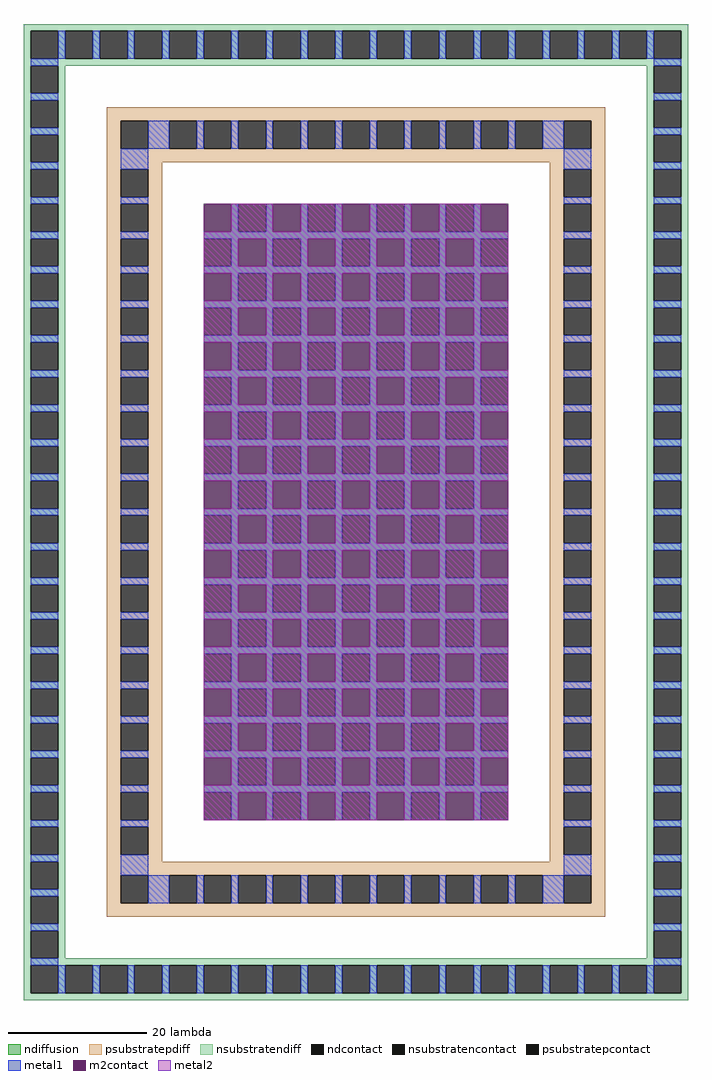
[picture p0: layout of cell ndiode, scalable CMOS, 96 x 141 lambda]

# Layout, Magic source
magic
tech scmos
<< ndiffusion >>
rect 12 98 17 102
rect 21 98 27 102
rect 31 98 37 102
rect 41 98 47 102
rect 51 98 56 102
rect 12 97 56 98
rect 16 93 22 97
rect 26 93 32 97
rect 36 93 42 97
rect 46 93 52 97
rect 12 92 56 93
rect 12 88 17 92
rect 21 88 27 92
rect 31 88 37 92
rect 41 88 47 92
rect 51 88 56 92
rect 12 87 56 88
rect 16 83 22 87
rect 26 83 32 87
rect 36 83 42 87
rect 46 83 52 87
rect 12 82 56 83
rect 12 78 17 82
rect 21 78 27 82
rect 31 78 37 82
rect 41 78 47 82
rect 51 78 56 82
rect 12 77 56 78
rect 16 73 22 77
rect 26 73 32 77
rect 36 73 42 77
rect 46 73 52 77
rect 12 72 56 73
rect 12 68 17 72
rect 21 68 27 72
rect 31 68 37 72
rect 41 68 47 72
rect 51 68 56 72
rect 12 67 56 68
rect 16 63 22 67
rect 26 63 32 67
rect 36 63 42 67
rect 46 63 52 67
rect 12 62 56 63
rect 12 58 17 62
rect 21 58 27 62
rect 31 58 37 62
rect 41 58 47 62
rect 51 58 56 62
rect 12 57 56 58
rect 16 53 22 57
rect 26 53 32 57
rect 36 53 42 57
rect 46 53 52 57
rect 12 52 56 53
rect 12 48 17 52
rect 21 48 27 52
rect 31 48 37 52
rect 41 48 47 52
rect 51 48 56 52
rect 12 47 56 48
rect 16 43 22 47
rect 26 43 32 47
rect 36 43 42 47
rect 46 43 52 47
rect 12 42 56 43
rect 12 38 17 42
rect 21 38 27 42
rect 31 38 37 42
rect 41 38 47 42
rect 51 38 56 42
rect 12 37 56 38
rect 16 33 22 37
rect 26 33 32 37
rect 36 33 42 37
rect 46 33 52 37
rect 12 32 56 33
rect 12 28 17 32
rect 21 28 27 32
rect 31 28 37 32
rect 41 28 47 32
rect 51 28 56 32
rect 12 27 56 28
rect 16 23 22 27
rect 26 23 32 27
rect 36 23 42 27
rect 46 23 52 27
rect 12 22 56 23
rect 12 18 17 22
rect 21 18 27 22
rect 31 18 37 22
rect 41 18 47 22
rect 51 18 56 22
rect 12 17 56 18
rect 16 13 22 17
rect 26 13 32 17
rect 36 13 42 17
rect 46 13 52 17
<< ndcontact >>
rect 17 98 21 102
rect 27 98 31 102
rect 37 98 41 102
rect 47 98 51 102
rect 12 93 16 97
rect 22 93 26 97
rect 32 93 36 97
rect 42 93 46 97
rect 52 93 56 97
rect 17 88 21 92
rect 27 88 31 92
rect 37 88 41 92
rect 47 88 51 92
rect 12 83 16 87
rect 22 83 26 87
rect 32 83 36 87
rect 42 83 46 87
rect 52 83 56 87
rect 17 78 21 82
rect 27 78 31 82
rect 37 78 41 82
rect 47 78 51 82
rect 12 73 16 77
rect 22 73 26 77
rect 32 73 36 77
rect 42 73 46 77
rect 52 73 56 77
rect 17 68 21 72
rect 27 68 31 72
rect 37 68 41 72
rect 47 68 51 72
rect 12 63 16 67
rect 22 63 26 67
rect 32 63 36 67
rect 42 63 46 67
rect 52 63 56 67
rect 17 58 21 62
rect 27 58 31 62
rect 37 58 41 62
rect 47 58 51 62
rect 12 53 16 57
rect 22 53 26 57
rect 32 53 36 57
rect 42 53 46 57
rect 52 53 56 57
rect 17 48 21 52
rect 27 48 31 52
rect 37 48 41 52
rect 47 48 51 52
rect 12 43 16 47
rect 22 43 26 47
rect 32 43 36 47
rect 42 43 46 47
rect 52 43 56 47
rect 17 38 21 42
rect 27 38 31 42
rect 37 38 41 42
rect 47 38 51 42
rect 12 33 16 37
rect 22 33 26 37
rect 32 33 36 37
rect 42 33 46 37
rect 52 33 56 37
rect 17 28 21 32
rect 27 28 31 32
rect 37 28 41 32
rect 47 28 51 32
rect 12 23 16 27
rect 22 23 26 27
rect 32 23 36 27
rect 42 23 46 27
rect 52 23 56 27
rect 17 18 21 22
rect 27 18 31 22
rect 37 18 41 22
rect 47 18 51 22
rect 12 13 16 17
rect 22 13 26 17
rect 32 13 36 17
rect 42 13 46 17
rect 52 13 56 17
<< psubstratepdiff >>
rect -2 114 70 116
rect -2 110 0 114
rect 4 110 7 114
rect 11 110 12 114
rect 16 110 17 114
rect 21 110 22 114
rect 26 110 27 114
rect 31 110 32 114
rect 36 110 37 114
rect 41 110 42 114
rect 46 110 47 114
rect 51 110 52 114
rect 56 110 57 114
rect 61 110 64 114
rect 68 110 70 114
rect -2 108 70 110
rect -2 107 6 108
rect -2 103 0 107
rect 4 103 6 107
rect -2 102 6 103
rect 62 107 70 108
rect 62 103 64 107
rect 68 103 70 107
rect 62 102 70 103
rect -2 98 0 102
rect 4 98 6 102
rect -2 97 6 98
rect -2 93 0 97
rect 4 93 6 97
rect -2 92 6 93
rect -2 88 0 92
rect 4 88 6 92
rect -2 87 6 88
rect -2 83 0 87
rect 4 83 6 87
rect -2 82 6 83
rect -2 78 0 82
rect 4 78 6 82
rect -2 77 6 78
rect -2 73 0 77
rect 4 73 6 77
rect -2 72 6 73
rect -2 68 0 72
rect 4 68 6 72
rect -2 67 6 68
rect -2 63 0 67
rect 4 63 6 67
rect -2 62 6 63
rect -2 58 0 62
rect 4 58 6 62
rect -2 57 6 58
rect -2 53 0 57
rect 4 53 6 57
rect -2 52 6 53
rect -2 48 0 52
rect 4 48 6 52
rect -2 47 6 48
rect -2 43 0 47
rect 4 43 6 47
rect -2 42 6 43
rect -2 38 0 42
rect 4 38 6 42
rect -2 37 6 38
rect -2 33 0 37
rect 4 33 6 37
rect -2 32 6 33
rect -2 28 0 32
rect 4 28 6 32
rect -2 27 6 28
rect -2 23 0 27
rect 4 23 6 27
rect -2 22 6 23
rect -2 18 0 22
rect 4 18 6 22
rect -2 17 6 18
rect -2 13 0 17
rect 4 13 6 17
rect 62 98 64 102
rect 68 98 70 102
rect 62 97 70 98
rect 62 93 64 97
rect 68 93 70 97
rect 62 92 70 93
rect 62 88 64 92
rect 68 88 70 92
rect 62 87 70 88
rect 62 83 64 87
rect 68 83 70 87
rect 62 82 70 83
rect 62 78 64 82
rect 68 78 70 82
rect 62 77 70 78
rect 62 73 64 77
rect 68 73 70 77
rect 62 72 70 73
rect 62 68 64 72
rect 68 68 70 72
rect 62 67 70 68
rect 62 63 64 67
rect 68 63 70 67
rect 62 62 70 63
rect 62 58 64 62
rect 68 58 70 62
rect 62 57 70 58
rect 62 53 64 57
rect 68 53 70 57
rect 62 52 70 53
rect 62 48 64 52
rect 68 48 70 52
rect 62 47 70 48
rect 62 43 64 47
rect 68 43 70 47
rect 62 42 70 43
rect 62 38 64 42
rect 68 38 70 42
rect 62 37 70 38
rect 62 33 64 37
rect 68 33 70 37
rect 62 32 70 33
rect 62 28 64 32
rect 68 28 70 32
rect 62 27 70 28
rect 62 23 64 27
rect 68 23 70 27
rect 62 22 70 23
rect 62 18 64 22
rect 68 18 70 22
rect 62 17 70 18
rect 62 13 64 17
rect 68 13 70 17
rect -2 12 6 13
rect -2 8 0 12
rect 4 8 6 12
rect -2 7 6 8
rect 62 12 70 13
rect 62 8 64 12
rect 68 8 70 12
rect 62 7 70 8
rect -2 5 70 7
rect -2 1 0 5
rect 4 1 7 5
rect 11 1 12 5
rect 16 1 17 5
rect 21 1 22 5
rect 26 1 27 5
rect 31 1 32 5
rect 36 1 37 5
rect 41 1 42 5
rect 46 1 47 5
rect 51 1 52 5
rect 56 1 57 5
rect 61 1 64 5
rect 68 1 70 5
rect -2 -1 70 1
<< nsubstratendiff >>
rect -14 127 82 128
rect -14 123 -13 127
rect -9 123 -8 127
rect -4 123 -3 127
rect 1 123 2 127
rect 6 123 7 127
rect 11 123 12 127
rect 16 123 17 127
rect 21 123 22 127
rect 26 123 27 127
rect 31 123 32 127
rect 36 123 37 127
rect 41 123 42 127
rect 46 123 47 127
rect 51 123 52 127
rect 56 123 57 127
rect 61 123 62 127
rect 66 123 67 127
rect 71 123 72 127
rect 76 123 77 127
rect 81 123 82 127
rect -14 122 82 123
rect -14 118 -13 122
rect -9 118 -8 122
rect -14 117 -8 118
rect -14 113 -13 117
rect -9 113 -8 117
rect 76 118 77 122
rect 81 118 82 122
rect 76 117 82 118
rect -14 112 -8 113
rect -14 108 -13 112
rect -9 108 -8 112
rect -14 107 -8 108
rect -14 103 -13 107
rect -9 103 -8 107
rect -14 102 -8 103
rect -14 98 -13 102
rect -9 98 -8 102
rect -14 97 -8 98
rect -14 93 -13 97
rect -9 93 -8 97
rect -14 92 -8 93
rect -14 88 -13 92
rect -9 88 -8 92
rect -14 87 -8 88
rect -14 83 -13 87
rect -9 83 -8 87
rect -14 82 -8 83
rect -14 78 -13 82
rect -9 78 -8 82
rect -14 77 -8 78
rect -14 73 -13 77
rect -9 73 -8 77
rect -14 72 -8 73
rect -14 68 -13 72
rect -9 68 -8 72
rect -14 67 -8 68
rect -14 63 -13 67
rect -9 63 -8 67
rect -14 62 -8 63
rect -14 58 -13 62
rect -9 58 -8 62
rect -14 57 -8 58
rect -14 53 -13 57
rect -9 53 -8 57
rect -14 52 -8 53
rect -14 48 -13 52
rect -9 48 -8 52
rect -14 47 -8 48
rect -14 43 -13 47
rect -9 43 -8 47
rect -14 42 -8 43
rect -14 38 -13 42
rect -9 38 -8 42
rect -14 37 -8 38
rect -14 33 -13 37
rect -9 33 -8 37
rect -14 32 -8 33
rect -14 28 -13 32
rect -9 28 -8 32
rect -14 27 -8 28
rect -14 23 -13 27
rect -9 23 -8 27
rect -14 22 -8 23
rect -14 18 -13 22
rect -9 18 -8 22
rect -14 17 -8 18
rect -14 13 -13 17
rect -9 13 -8 17
rect -14 12 -8 13
rect -14 8 -13 12
rect -9 8 -8 12
rect -14 7 -8 8
rect -14 3 -13 7
rect -9 3 -8 7
rect -14 2 -8 3
rect -14 -2 -13 2
rect -9 -2 -8 2
rect 76 113 77 117
rect 81 113 82 117
rect 76 112 82 113
rect 76 108 77 112
rect 81 108 82 112
rect 76 107 82 108
rect 76 103 77 107
rect 81 103 82 107
rect 76 102 82 103
rect 76 98 77 102
rect 81 98 82 102
rect 76 97 82 98
rect 76 93 77 97
rect 81 93 82 97
rect 76 92 82 93
rect 76 88 77 92
rect 81 88 82 92
rect 76 87 82 88
rect 76 83 77 87
rect 81 83 82 87
rect 76 82 82 83
rect 76 78 77 82
rect 81 78 82 82
rect 76 77 82 78
rect 76 73 77 77
rect 81 73 82 77
rect 76 72 82 73
rect 76 68 77 72
rect 81 68 82 72
rect 76 67 82 68
rect 76 63 77 67
rect 81 63 82 67
rect 76 62 82 63
rect 76 58 77 62
rect 81 58 82 62
rect 76 57 82 58
rect 76 53 77 57
rect 81 53 82 57
rect 76 52 82 53
rect 76 48 77 52
rect 81 48 82 52
rect 76 47 82 48
rect 76 43 77 47
rect 81 43 82 47
rect 76 42 82 43
rect 76 38 77 42
rect 81 38 82 42
rect 76 37 82 38
rect 76 33 77 37
rect 81 33 82 37
rect 76 32 82 33
rect 76 28 77 32
rect 81 28 82 32
rect 76 27 82 28
rect 76 23 77 27
rect 81 23 82 27
rect 76 22 82 23
rect 76 18 77 22
rect 81 18 82 22
rect 76 17 82 18
rect 76 13 77 17
rect 81 13 82 17
rect 76 12 82 13
rect 76 8 77 12
rect 81 8 82 12
rect 76 7 82 8
rect 76 3 77 7
rect 81 3 82 7
rect 76 2 82 3
rect -14 -3 -8 -2
rect -14 -7 -13 -3
rect -9 -7 -8 -3
rect 76 -2 77 2
rect 81 -2 82 2
rect 76 -3 82 -2
rect 76 -7 77 -3
rect 81 -7 82 -3
rect -14 -8 82 -7
rect -14 -12 -13 -8
rect -9 -12 -8 -8
rect -4 -12 -3 -8
rect 1 -12 2 -8
rect 6 -12 7 -8
rect 11 -12 12 -8
rect 16 -12 17 -8
rect 21 -12 22 -8
rect 26 -12 27 -8
rect 31 -12 32 -8
rect 36 -12 37 -8
rect 41 -12 42 -8
rect 46 -12 47 -8
rect 51 -12 52 -8
rect 56 -12 57 -8
rect 61 -12 62 -8
rect 66 -12 67 -8
rect 71 -12 72 -8
rect 76 -12 77 -8
rect 81 -12 82 -8
rect -14 -13 82 -12
<< psubstratepcontact >>
rect 0 110 4 114
rect 7 110 11 114
rect 12 110 16 114
rect 17 110 21 114
rect 22 110 26 114
rect 27 110 31 114
rect 32 110 36 114
rect 37 110 41 114
rect 42 110 46 114
rect 47 110 51 114
rect 52 110 56 114
rect 57 110 61 114
rect 64 110 68 114
rect 0 103 4 107
rect 64 103 68 107
rect 0 98 4 102
rect 0 93 4 97
rect 0 88 4 92
rect 0 83 4 87
rect 0 78 4 82
rect 0 73 4 77
rect 0 68 4 72
rect 0 63 4 67
rect 0 58 4 62
rect 0 53 4 57
rect 0 48 4 52
rect 0 43 4 47
rect 0 38 4 42
rect 0 33 4 37
rect 0 28 4 32
rect 0 23 4 27
rect 0 18 4 22
rect 0 13 4 17
rect 64 98 68 102
rect 64 93 68 97
rect 64 88 68 92
rect 64 83 68 87
rect 64 78 68 82
rect 64 73 68 77
rect 64 68 68 72
rect 64 63 68 67
rect 64 58 68 62
rect 64 53 68 57
rect 64 48 68 52
rect 64 43 68 47
rect 64 38 68 42
rect 64 33 68 37
rect 64 28 68 32
rect 64 23 68 27
rect 64 18 68 22
rect 64 13 68 17
rect 0 8 4 12
rect 64 8 68 12
rect 0 1 4 5
rect 7 1 11 5
rect 12 1 16 5
rect 17 1 21 5
rect 22 1 26 5
rect 27 1 31 5
rect 32 1 36 5
rect 37 1 41 5
rect 42 1 46 5
rect 47 1 51 5
rect 52 1 56 5
rect 57 1 61 5
rect 64 1 68 5
<< nsubstratencontact >>
rect -13 123 -9 127
rect -8 123 -4 127
rect -3 123 1 127
rect 2 123 6 127
rect 7 123 11 127
rect 12 123 16 127
rect 17 123 21 127
rect 22 123 26 127
rect 27 123 31 127
rect 32 123 36 127
rect 37 123 41 127
rect 42 123 46 127
rect 47 123 51 127
rect 52 123 56 127
rect 57 123 61 127
rect 62 123 66 127
rect 67 123 71 127
rect 72 123 76 127
rect 77 123 81 127
rect -13 118 -9 122
rect -13 113 -9 117
rect 77 118 81 122
rect -13 108 -9 112
rect -13 103 -9 107
rect -13 98 -9 102
rect -13 93 -9 97
rect -13 88 -9 92
rect -13 83 -9 87
rect -13 78 -9 82
rect -13 73 -9 77
rect -13 68 -9 72
rect -13 63 -9 67
rect -13 58 -9 62
rect -13 53 -9 57
rect -13 48 -9 52
rect -13 43 -9 47
rect -13 38 -9 42
rect -13 33 -9 37
rect -13 28 -9 32
rect -13 23 -9 27
rect -13 18 -9 22
rect -13 13 -9 17
rect -13 8 -9 12
rect -13 3 -9 7
rect -13 -2 -9 2
rect 77 113 81 117
rect 77 108 81 112
rect 77 103 81 107
rect 77 98 81 102
rect 77 93 81 97
rect 77 88 81 92
rect 77 83 81 87
rect 77 78 81 82
rect 77 73 81 77
rect 77 68 81 72
rect 77 63 81 67
rect 77 58 81 62
rect 77 53 81 57
rect 77 48 81 52
rect 77 43 81 47
rect 77 38 81 42
rect 77 33 81 37
rect 77 28 81 32
rect 77 23 81 27
rect 77 18 81 22
rect 77 13 81 17
rect 77 8 81 12
rect 77 3 81 7
rect -13 -7 -9 -3
rect 77 -2 81 2
rect 77 -7 81 -3
rect -13 -12 -9 -8
rect -8 -12 -4 -8
rect -3 -12 1 -8
rect 2 -12 6 -8
rect 7 -12 11 -8
rect 12 -12 16 -8
rect 17 -12 21 -8
rect 22 -12 26 -8
rect 27 -12 31 -8
rect 32 -12 36 -8
rect 37 -12 41 -8
rect 42 -12 46 -8
rect 47 -12 51 -8
rect 52 -12 56 -8
rect 57 -12 61 -8
rect 62 -12 66 -8
rect 67 -12 71 -8
rect 72 -12 76 -8
rect 77 -12 81 -8
<< metal1 >>
rect -9 123 -8 127
rect -4 123 -3 127
rect 1 123 2 127
rect 6 123 7 127
rect 11 123 12 127
rect 16 123 17 127
rect 21 123 22 127
rect 26 123 27 127
rect 31 123 32 127
rect 36 123 37 127
rect 41 123 42 127
rect 46 123 47 127
rect 51 123 52 127
rect 56 123 57 127
rect 61 123 62 127
rect 66 123 67 127
rect 71 123 72 127
rect 76 123 77 127
rect -13 122 -9 123
rect -13 117 -9 118
rect 77 122 81 123
rect 77 117 81 118
rect -13 112 -9 113
rect -13 107 -9 108
rect -13 102 -9 103
rect -13 97 -9 98
rect -13 92 -9 93
rect -13 87 -9 88
rect -13 82 -9 83
rect -13 77 -9 78
rect -13 72 -9 73
rect -13 67 -9 68
rect -13 62 -9 63
rect -13 57 -9 58
rect -13 52 -9 53
rect -13 47 -9 48
rect -13 42 -9 43
rect -13 37 -9 38
rect -13 32 -9 33
rect -13 27 -9 28
rect -13 22 -9 23
rect -13 17 -9 18
rect -13 12 -9 13
rect -13 7 -9 8
rect -13 2 -9 3
rect 4 110 7 114
rect 11 110 12 114
rect 16 110 17 114
rect 21 110 22 114
rect 26 110 27 114
rect 31 110 32 114
rect 36 110 37 114
rect 41 110 42 114
rect 46 110 47 114
rect 51 110 52 114
rect 56 110 57 114
rect 61 110 64 114
rect 0 107 4 110
rect 0 102 4 103
rect 64 107 68 110
rect 64 102 68 103
rect 0 97 4 98
rect 0 92 4 93
rect 0 87 4 88
rect 0 82 4 83
rect 0 77 4 78
rect 0 72 4 73
rect 0 67 4 68
rect 0 62 4 63
rect 0 57 4 58
rect 0 52 4 53
rect 0 47 4 48
rect 0 42 4 43
rect 0 37 4 38
rect 0 32 4 33
rect 0 27 4 28
rect 0 22 4 23
rect 0 17 4 18
rect 16 98 17 102
rect 21 98 22 102
rect 26 98 27 102
rect 31 98 32 102
rect 36 98 37 102
rect 41 98 42 102
rect 46 98 47 102
rect 51 98 52 102
rect 12 97 56 98
rect 16 93 17 97
rect 21 93 22 97
rect 26 93 27 97
rect 31 93 32 97
rect 36 93 37 97
rect 41 93 42 97
rect 46 93 47 97
rect 51 93 52 97
rect 12 92 56 93
rect 16 88 17 92
rect 21 88 22 92
rect 26 88 27 92
rect 31 88 32 92
rect 36 88 37 92
rect 41 88 42 92
rect 46 88 47 92
rect 51 88 52 92
rect 12 87 56 88
rect 16 83 17 87
rect 21 83 22 87
rect 26 83 27 87
rect 31 83 32 87
rect 36 83 37 87
rect 41 83 42 87
rect 46 83 47 87
rect 51 83 52 87
rect 12 82 56 83
rect 16 78 17 82
rect 21 78 22 82
rect 26 78 27 82
rect 31 78 32 82
rect 36 78 37 82
rect 41 78 42 82
rect 46 78 47 82
rect 51 78 52 82
rect 12 77 56 78
rect 16 73 17 77
rect 21 73 22 77
rect 26 73 27 77
rect 31 73 32 77
rect 36 73 37 77
rect 41 73 42 77
rect 46 73 47 77
rect 51 73 52 77
rect 12 72 56 73
rect 16 68 17 72
rect 21 68 22 72
rect 26 68 27 72
rect 31 68 32 72
rect 36 68 37 72
rect 41 68 42 72
rect 46 68 47 72
rect 51 68 52 72
rect 12 67 56 68
rect 16 63 17 67
rect 21 63 22 67
rect 26 63 27 67
rect 31 63 32 67
rect 36 63 37 67
rect 41 63 42 67
rect 46 63 47 67
rect 51 63 52 67
rect 12 62 56 63
rect 16 58 17 62
rect 21 58 22 62
rect 26 58 27 62
rect 31 58 32 62
rect 36 58 37 62
rect 41 58 42 62
rect 46 58 47 62
rect 51 58 52 62
rect 12 57 56 58
rect 16 53 17 57
rect 21 53 22 57
rect 26 53 27 57
rect 31 53 32 57
rect 36 53 37 57
rect 41 53 42 57
rect 46 53 47 57
rect 51 53 52 57
rect 12 52 56 53
rect 16 48 17 52
rect 21 48 22 52
rect 26 48 27 52
rect 31 48 32 52
rect 36 48 37 52
rect 41 48 42 52
rect 46 48 47 52
rect 51 48 52 52
rect 12 47 56 48
rect 16 43 17 47
rect 21 43 22 47
rect 26 43 27 47
rect 31 43 32 47
rect 36 43 37 47
rect 41 43 42 47
rect 46 43 47 47
rect 51 43 52 47
rect 12 42 56 43
rect 16 38 17 42
rect 21 38 22 42
rect 26 38 27 42
rect 31 38 32 42
rect 36 38 37 42
rect 41 38 42 42
rect 46 38 47 42
rect 51 38 52 42
rect 12 37 56 38
rect 16 33 17 37
rect 21 33 22 37
rect 26 33 27 37
rect 31 33 32 37
rect 36 33 37 37
rect 41 33 42 37
rect 46 33 47 37
rect 51 33 52 37
rect 12 32 56 33
rect 16 28 17 32
rect 21 28 22 32
rect 26 28 27 32
rect 31 28 32 32
rect 36 28 37 32
rect 41 28 42 32
rect 46 28 47 32
rect 51 28 52 32
rect 12 27 56 28
rect 16 23 17 27
rect 21 23 22 27
rect 26 23 27 27
rect 31 23 32 27
rect 36 23 37 27
rect 41 23 42 27
rect 46 23 47 27
rect 51 23 52 27
rect 12 22 56 23
rect 16 18 17 22
rect 21 18 22 22
rect 26 18 27 22
rect 31 18 32 22
rect 36 18 37 22
rect 41 18 42 22
rect 46 18 47 22
rect 51 18 52 22
rect 12 17 56 18
rect 16 13 17 17
rect 21 13 22 17
rect 26 13 27 17
rect 31 13 32 17
rect 36 13 37 17
rect 41 13 42 17
rect 46 13 47 17
rect 51 13 52 17
rect 64 97 68 98
rect 64 92 68 93
rect 64 87 68 88
rect 64 82 68 83
rect 64 77 68 78
rect 64 72 68 73
rect 64 67 68 68
rect 64 62 68 63
rect 64 57 68 58
rect 64 52 68 53
rect 64 47 68 48
rect 64 42 68 43
rect 64 37 68 38
rect 64 32 68 33
rect 64 27 68 28
rect 64 22 68 23
rect 64 17 68 18
rect 0 12 4 13
rect 0 5 4 8
rect 64 12 68 13
rect 64 5 68 8
rect 4 1 7 5
rect 11 1 12 5
rect 16 1 17 5
rect 21 1 22 5
rect 26 1 27 5
rect 31 1 32 5
rect 36 1 37 5
rect 41 1 42 5
rect 46 1 47 5
rect 51 1 52 5
rect 56 1 57 5
rect 61 1 64 5
rect 77 112 81 113
rect 77 107 81 108
rect 77 102 81 103
rect 77 97 81 98
rect 77 92 81 93
rect 77 87 81 88
rect 77 82 81 83
rect 77 77 81 78
rect 77 72 81 73
rect 77 67 81 68
rect 77 62 81 63
rect 77 57 81 58
rect 77 52 81 53
rect 77 47 81 48
rect 77 42 81 43
rect 77 37 81 38
rect 77 32 81 33
rect 77 27 81 28
rect 77 22 81 23
rect 77 17 81 18
rect 77 12 81 13
rect 77 7 81 8
rect 77 2 81 3
rect -13 -3 -9 -2
rect -13 -8 -9 -7
rect 77 -3 81 -2
rect 77 -8 81 -7
rect -9 -12 -8 -8
rect -4 -12 -3 -8
rect 1 -12 2 -8
rect 6 -12 7 -8
rect 11 -12 12 -8
rect 16 -12 17 -8
rect 21 -12 22 -8
rect 26 -12 27 -8
rect 31 -12 32 -8
rect 36 -12 37 -8
rect 41 -12 42 -8
rect 46 -12 47 -8
rect 51 -12 52 -8
rect 56 -12 57 -8
rect 61 -12 62 -8
rect 66 -12 67 -8
rect 71 -12 72 -8
rect 76 -12 77 -8
<< m2contact >>
rect 12 98 16 102
rect 22 98 26 102
rect 32 98 36 102
rect 42 98 46 102
rect 52 98 56 102
rect 17 93 21 97
rect 27 93 31 97
rect 37 93 41 97
rect 47 93 51 97
rect 12 88 16 92
rect 22 88 26 92
rect 32 88 36 92
rect 42 88 46 92
rect 52 88 56 92
rect 17 83 21 87
rect 27 83 31 87
rect 37 83 41 87
rect 47 83 51 87
rect 12 78 16 82
rect 22 78 26 82
rect 32 78 36 82
rect 42 78 46 82
rect 52 78 56 82
rect 17 73 21 77
rect 27 73 31 77
rect 37 73 41 77
rect 47 73 51 77
rect 12 68 16 72
rect 22 68 26 72
rect 32 68 36 72
rect 42 68 46 72
rect 52 68 56 72
rect 17 63 21 67
rect 27 63 31 67
rect 37 63 41 67
rect 47 63 51 67
rect 12 58 16 62
rect 22 58 26 62
rect 32 58 36 62
rect 42 58 46 62
rect 52 58 56 62
rect 17 53 21 57
rect 27 53 31 57
rect 37 53 41 57
rect 47 53 51 57
rect 12 48 16 52
rect 22 48 26 52
rect 32 48 36 52
rect 42 48 46 52
rect 52 48 56 52
rect 17 43 21 47
rect 27 43 31 47
rect 37 43 41 47
rect 47 43 51 47
rect 12 38 16 42
rect 22 38 26 42
rect 32 38 36 42
rect 42 38 46 42
rect 52 38 56 42
rect 17 33 21 37
rect 27 33 31 37
rect 37 33 41 37
rect 47 33 51 37
rect 12 28 16 32
rect 22 28 26 32
rect 32 28 36 32
rect 42 28 46 32
rect 52 28 56 32
rect 17 23 21 27
rect 27 23 31 27
rect 37 23 41 27
rect 47 23 51 27
rect 12 18 16 22
rect 22 18 26 22
rect 32 18 36 22
rect 42 18 46 22
rect 52 18 56 22
rect 17 13 21 17
rect 27 13 31 17
rect 37 13 41 17
rect 47 13 51 17
<< metal2 >>
rect 16 98 22 102
rect 26 98 32 102
rect 36 98 42 102
rect 46 98 52 102
rect 12 97 56 98
rect 12 93 17 97
rect 21 93 27 97
rect 31 93 37 97
rect 41 93 47 97
rect 51 93 56 97
rect 12 92 56 93
rect 16 88 22 92
rect 26 88 32 92
rect 36 88 42 92
rect 46 88 52 92
rect 12 87 56 88
rect 12 83 17 87
rect 21 83 27 87
rect 31 83 37 87
rect 41 83 47 87
rect 51 83 56 87
rect 12 82 56 83
rect 16 78 22 82
rect 26 78 32 82
rect 36 78 42 82
rect 46 78 52 82
rect 12 77 56 78
rect 12 73 17 77
rect 21 73 27 77
rect 31 73 37 77
rect 41 73 47 77
rect 51 73 56 77
rect 12 72 56 73
rect 16 68 22 72
rect 26 68 32 72
rect 36 68 42 72
rect 46 68 52 72
rect 12 67 56 68
rect 12 63 17 67
rect 21 63 27 67
rect 31 63 37 67
rect 41 63 47 67
rect 51 63 56 67
rect 12 62 56 63
rect 16 58 22 62
rect 26 58 32 62
rect 36 58 42 62
rect 46 58 52 62
rect 12 57 56 58
rect 12 53 17 57
rect 21 53 27 57
rect 31 53 37 57
rect 41 53 47 57
rect 51 53 56 57
rect 12 52 56 53
rect 16 48 22 52
rect 26 48 32 52
rect 36 48 42 52
rect 46 48 52 52
rect 12 47 56 48
rect 12 43 17 47
rect 21 43 27 47
rect 31 43 37 47
rect 41 43 47 47
rect 51 43 56 47
rect 12 42 56 43
rect 16 38 22 42
rect 26 38 32 42
rect 36 38 42 42
rect 46 38 52 42
rect 12 37 56 38
rect 12 33 17 37
rect 21 33 27 37
rect 31 33 37 37
rect 41 33 47 37
rect 51 33 56 37
rect 12 32 56 33
rect 16 28 22 32
rect 26 28 32 32
rect 36 28 42 32
rect 46 28 52 32
rect 12 27 56 28
rect 12 23 17 27
rect 21 23 27 27
rect 31 23 37 27
rect 41 23 47 27
rect 51 23 56 27
rect 12 22 56 23
rect 16 18 22 22
rect 26 18 32 22
rect 36 18 42 22
rect 46 18 52 22
rect 12 17 56 18
rect 12 13 17 17
rect 21 13 27 17
rect 31 13 37 17
rect 41 13 47 17
rect 51 13 56 17
<< end >>
